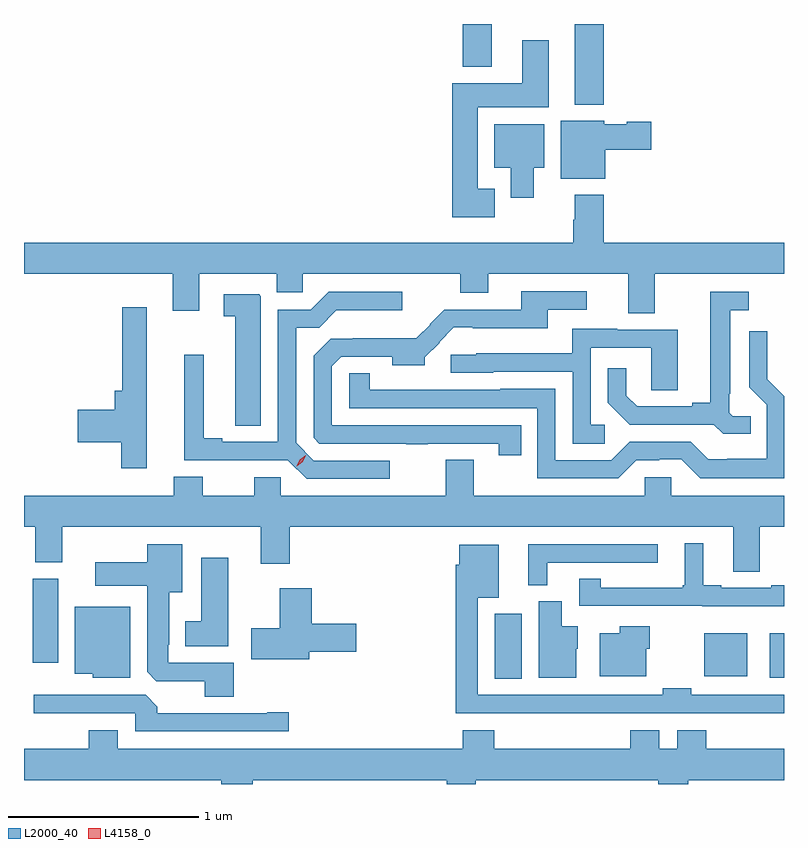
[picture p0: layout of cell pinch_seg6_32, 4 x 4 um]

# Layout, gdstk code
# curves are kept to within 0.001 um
import gdstk
lib = gdstk.Library(unit=1e-6, precision=1e-09)
def R(c, l, rs):  # rectangles x0, y0, x1, y1
    for r in rs: c.add(gdstk.rectangle(r[:2], r[2:], *l))
def P(c, l, *ps):  # polygons
    for p in ps: c.add(gdstk.Polygon(p, *l))
L2000_40 = (2000, 40)
L4158_0 = (4158, 0)

pinch_seg6_32 = lib.new_cell('pinch_seg6_32')
R(pinch_seg6_32, L2000_40, [(973.211,977.173,973.354,977.515), (974.657,977.177,974.733,977.413), (974.312,977.186,974.539,977.413), (970.778,977.256,970.912,977.7), (973.631,980.195,973.784,980.619), (973.043,980.393,973.195,980.619)])
P(pinch_seg6_32, L2000_40, [(973.21,979.753),(973.12,979.753),(973.12,980.18),(973.495,980.18),(973.495,980.533),(973.355,980.533),(973.355,980.308),(972.986,980.308),(972.986,979.601),(973.21,979.601)],
  [(973.792,979.958),(974.035,979.958),(974.035,980.105),(973.905,980.105),(973.905,980.092),(973.788,980.092),(973.788,980.11),(973.559,980.11),(973.559,979.805),(973.792,979.805)],
  [(973.417,979.862),(973.471,979.862),(973.471,980.092),(973.208,980.092),(973.208,979.862),(973.295,979.862),(973.295,979.704),(973.417,979.704)],
  [(974.053,979.304),(974.733,979.304),(974.733,979.468),(973.784,979.468),(973.784,979.72),(973.631,979.72),(973.631,979.589),(973.624,979.589),(973.624,979.468),(970.733,979.468),(970.733,979.304),(971.516,979.304),(971.516,979.11),(971.656,979.11),(971.656,979.304),(972.062,979.304),(972.062,979.206),(972.201,979.206),(972.201,979.304),(973.03,979.304),(973.03,979.205),(973.177,979.205),(973.177,979.304),(973.913,979.304),(973.913,979.096),(974.053,979.096)],
  [(973.349,978.507),(972.354,978.507),(972.354,978.819),(972.402,978.867),(972.671,978.867),(972.671,978.824),(972.842,978.824),(972.842,978.864),(972.921,978.942),(972.918,978.945),(972.995,979.022),(973.096,979.022),(973.096,979.019),(973.489,979.019),(973.489,979.116),(973.696,979.116),(973.696,979.212),(973.349,979.212),(973.349,979.116),(972.945,979.116),(972.869,979.039),(972.871,979.037),(972.797,978.964),(972.463,978.964),(972.463,978.962),(972.347,978.962),(972.258,978.873),(972.258,978.441),(972.288,978.411),(972.745,978.411),(972.745,978.406),(972.857,978.406),(972.857,978.411),(973.231,978.411),(973.231,978.348),(973.349,978.348)],
  [(972.658,978.321),(972.258,978.321),(972.165,978.414),(972.165,979.021),(972.286,979.021),(972.377,979.112),(972.724,979.112),(972.724,979.209),(972.336,979.209),(972.243,979.116),(972.069,979.116),(972.069,978.42),(971.776,978.42),(971.776,978.44),(971.68,978.44),(971.68,978.877),(971.576,978.877),(971.576,978.324),(972.122,978.324),(972.221,978.225),(972.658,978.225)],
  [(974.558,978.555),(974.463,978.555),(974.445,978.573),(974.445,978.673),(974.449,978.673),(974.449,979.113),(974.548,979.113),(974.548,979.209),(974.345,979.209),(974.345,978.626),(974.249,978.626),(974.249,978.606),(973.96,978.606),(973.903,978.663),(973.903,978.808),(973.806,978.808),(973.806,978.626),(973.922,978.51),(974.364,978.51),(974.412,978.463),(974.558,978.463)],
  [(971.98,979.187),(971.97,979.197),(971.784,979.197),(971.784,979.081),(971.846,979.081),(971.846,978.505),(971.98,978.505)],
  [(971.38,979.129),(971.249,979.129),(971.249,978.688),(971.21,978.688),(971.21,978.59),(971.016,978.59),(971.016,978.419),(971.246,978.419),(971.246,978.282),(971.38,978.282)],
  [(973.789,978.51),(973.716,978.51),(973.716,978.915),(974.034,978.915),(974.034,978.691),(974.173,978.691),(974.173,979.011),(973.855,979.011),(973.855,979.015),(973.619,979.015),(973.619,978.886),(973.113,978.886),(973.113,978.879),(972.978,978.879),(972.978,978.783),(973.203,978.783),(973.203,978.789),(973.62,978.789),(973.62,978.409),(973.789,978.409)],
  [(974.733,978.661),(974.644,978.75),(974.644,979.003),(974.55,979.003),(974.55,978.708),(974.643,978.615),(974.643,978.331),(974.434,978.331),(974.434,978.327),(974.334,978.327),(974.241,978.42),(973.92,978.42),(973.824,978.324),(973.53,978.324),(973.53,978.7),(973.239,978.7),(973.239,978.693),(972.553,978.694),(972.553,978.782),(972.444,978.782),(972.444,978.597),(973.434,978.597),(973.434,978.228),(973.86,978.228),(973.956,978.324),(974.076,978.324),(974.076,978.327),(974.193,978.327),(974.293,978.227),(974.733,978.227)],
  [(974.605,977.972),(974.733,977.972),(974.733,978.136),(974.139,978.136),(974.139,978.234),(974.001,978.234),(974.001,978.136),(973.101,978.136),(973.101,978.326),(972.953,978.326),(972.953,978.136),(972.084,978.136),(972.084,978.234),(971.945,978.234),(971.945,978.136),(971.674,978.136),(971.674,978.235),(971.522,978.235),(971.522,978.136),(970.733,978.136),(970.733,977.972),(970.793,977.972),(970.793,977.785),(970.933,977.785),(970.933,977.972),(971.978,977.972),(971.978,977.778),(972.131,977.778),(972.131,977.972),(974.465,977.972),(974.465,977.737),(974.605,977.737)],
  [(974.733,977.665),(974.666,977.665),(974.666,977.652),(974.404,977.652),(974.404,977.665),(974.308,977.665),(974.308,977.887),(974.21,977.887),(974.21,977.665),(974.199,977.665),(974.199,977.653),(973.769,977.653),(973.769,977.699),(973.656,977.699),(973.656,977.556),(974.304,977.556),(974.304,977.555),(974.733,977.555)],
  [(971.837,977.256),(971.493,977.256),(971.493,977.353),(971.497,977.353),(971.497,977.627),(971.566,977.627),(971.566,977.881),(971.381,977.881),(971.381,977.785),(971.109,977.785),(971.109,977.663),(971.381,977.663),(971.381,977.209),(971.43,977.16),(971.684,977.16),(971.684,977.077),(971.837,977.077)],
  [(973.486,977.784),(974.068,977.784),(974.068,977.88),(973.388,977.88),(973.388,977.665),(973.486,977.665)],
  [(973.841,976.992),(974.344,976.992),(974.344,976.991),(974.733,976.991),(974.733,977.088),(974.244,977.088),(974.244,977.124),(974.094,977.124),(974.094,977.088),(973.122,977.088),(973.122,977.6),(973.231,977.6),(973.231,977.878),(973.025,977.878),(973.025,977.774),(973.006,977.774),(973.006,976.992),(973.291,976.992),(973.291,976.991),(973.841,976.991)],
  [(971.809,977.809),(971.666,977.809),(971.666,977.476),(971.582,977.476),(971.582,977.345),(971.809,977.345)],
  [(972.235,977.315),(972.481,977.315),(972.481,977.462),(972.248,977.462),(972.248,977.65),(972.08,977.65),(972.08,977.439),(971.928,977.439),(971.928,977.276),(972.235,977.276)],
  [(973.639,977.331),(973.648,977.331),(973.648,977.449),(973.564,977.449),(973.564,977.58),(973.442,977.58),(973.442,977.177),(973.639,977.177)],
  [(971.293,977.551),(971,977.551),(971,977.198),(971.094,977.198),(971.094,977.177),(971.293,977.177)],
  [(974.008,977.331),(974.026,977.331),(974.026,977.449),(973.868,977.449),(973.868,977.413),(973.763,977.413),(973.763,977.186),(974.008,977.186)],
  [(972.127,976.997),(972.014,976.997),(972.014,976.992),(971.435,976.992),(971.435,977.026),(971.373,977.088),(970.785,977.088),(970.785,976.992),(971.319,976.992),(971.319,976.896),(972.127,976.896)],
  [(971.936,976.64),(972.959,976.64),(972.959,976.619),(973.111,976.619),(973.111,976.64),(974.071,976.64),(974.071,976.619),(974.228,976.619),(974.228,976.64),(974.733,976.64),(974.733,976.804),(974.324,976.804),(974.324,976.903),(974.171,976.903),(974.171,976.804),(974.077,976.804),(974.077,976.903),(973.925,976.903),(973.925,976.804),(973.208,976.804),(973.208,976.903),(973.043,976.903),(973.043,976.804),(971.227,976.804),(971.227,976.903),(971.075,976.903),(971.075,976.804),(970.733,976.804),(970.733,976.64),(971.771,976.64),(971.771,976.619),(971.936,976.619)])
P(pinch_seg6_32, L4158_0, [(972.169,978.292),(972.169,978.293),(972.185,978.326),(972.216,978.348),(972.216,978.348),(972.216,978.347),(972.2,978.314),(972.169,978.292)])

lib.write_gds('pinch_seg6_32.gds')
